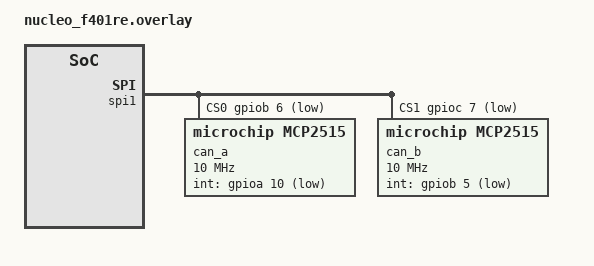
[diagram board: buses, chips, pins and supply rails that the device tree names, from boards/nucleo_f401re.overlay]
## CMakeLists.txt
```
cmake_minimum_required(VERSION 3.20.0)

find_package(Zephyr REQUIRED HINTS $ENV{ZEPHYR_BASE})
project(can_bringup)

target_sources(app PRIVATE src/main.c)
```

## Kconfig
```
mainmenu "Lab 3 CAN bring-up"

config BRINGUP_NODE_ID
	int "Node number of this Nucleo (2 = steering, 3 = drivetrain)"
	range 2 3
	default 2
	help
	  Test frames are sent with ID 0x700 | (node << 4), so N2 sends 0x720
	  and N3 sends 0x730. Set per board at build time with
	  -DCONFIG_BRINGUP_NODE_ID=3.

config BRINGUP_TX_PERIOD_MS
	int "Test frame period in ms (0 = don't transmit)"
	default 100
	help
	  Period of the Part 1 test frame sent on both buses. A node that
	  transmits with nobody else on the bus gets no ACK and goes
	  error-passive; set 0 to reproduce the Part 0 single-node check.

source "Kconfig.zephyr"
```

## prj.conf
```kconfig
CONFIG_GPIO=y
CONFIG_SPI=y
CONFIG_CAN=y

CONFIG_PRINTK=y
CONFIG_LOG=y
# Prints the MCP2515 bit-timing (prescaler/BS1/BS2) chosen at init
CONFIG_CAN_LOG_LEVEL_DBG=y

# Shell gives `can send/start/stop/mode/show` for poking the controllers by hand
CONFIG_SHELL=y
CONFIG_CAN_SHELL=y
CONFIG_DEVICE_SHELL=y
```

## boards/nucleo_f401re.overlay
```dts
/*
 * Dual MCP2515 (XIAO CAN Bus Expansion) on SPI1, handout wiring.
 * Same overlay for N2 and N3.
 *
 *   SCK  PA5 (D13)   MISO PA6 (D12)   MOSI PA7 (D11)
 *   CAN A: CS PB6 (D10), INT PA10 (D2)  -> EXTI10
 *   CAN B: CS PC7 (D9),  INT PB5  (D4)  -> EXTI5
 *
 * XIAO module crystal is 16 MHz. SPI1 is clocked from 84 MHz APB2 with
 * power-of-two dividers, so a 10 MHz request (MCP2515 max) yields 5.25 MHz.
 */

/ {
	aliases {
		can-a = &can_a;
		can-b = &can_b;
	};
};

&spi1 {
	status = "okay";
	cs-gpios = <&gpiob 6 (GPIO_ACTIVE_LOW | GPIO_PULL_UP)>,
		   <&gpioc 7 (GPIO_ACTIVE_LOW | GPIO_PULL_UP)>;

	can_a: can@0 {
		compatible = "microchip,mcp2515";
		reg = <0>;
		spi-max-frequency = <10000000>;
		int-gpios = <&gpioa 10 (GPIO_ACTIVE_LOW | GPIO_PULL_UP)>;
		osc-freq = <16000000>;
		/* Without this the driver falls back to CONFIG_CAN_DEFAULT_BITRATE (125k) */
		bitrate = <500000>;
		sample-point = <875>;
		status = "okay";
	};

	can_b: can@1 {
		compatible = "microchip,mcp2515";
		reg = <1>;
		spi-max-frequency = <10000000>;
		int-gpios = <&gpiob 5 (GPIO_ACTIVE_LOW | GPIO_PULL_UP)>;
		osc-freq = <16000000>;
		bitrate = <500000>;
		sample-point = <875>;
		status = "okay";
	};
};
```

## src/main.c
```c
/*
 * Lab 3 Part 0 bring-up: proves each MCP2515 on this Nucleo works on its own,
 * before any bus wire is connected.
 *
 *  1. SPI probe        -> raw register read proves the chip answers on MISO.
 *                         (The driver's init only writes, so "device ready"
 *                         alone does NOT prove the module is there.)
 *  2. loopback TX->RX  -> SPI read/write AND the INT pin -> driver thread path
 *  3. normal mode      -> can_get_state reports ERROR-ACTIVE (handout checkpoint)
 *
 * Part 1: then sends test frame 0x700 | (node << 4) every
 * CONFIG_BRINGUP_TX_PERIOD_MS on both buses, and once a second prints, per
 * bus, TX results and how many frames it heard from each node (N1 = Pi
 * sending 0x710, N2 = 0x720, N3 = 0x730).
 */

#include <string.h>
#include <zephyr/kernel.h>
#include <zephyr/device.h>
#include <zephyr/drivers/can.h>
#include <zephyr/drivers/spi.h>
#include <zephyr/sys/printk.h>

#define LOOPBACK_TEST_ID 0x7AB
#define STATUS_PERIOD_MS 1000

#define NODE_ID          CONFIG_BRINGUP_NODE_ID
#define TX_PERIOD_MS     CONFIG_BRINGUP_TX_PERIOD_MS
#define TEST_ID_BASE     0x700
#define TEST_ID(node)    (TEST_ID_BASE | ((node) << 4))
#define MAX_NODE         3

#define MCP2515_OP_READ      0x03
#define MCP2515_REG_CANSTAT  0x0E   /* CANCTRL (0x0F) follows via auto-increment */
#define MCP2515_OPMOD_CONFIG 0x4    /* CANSTAT[7:5] after reset */

#define PROBE_SPI_OP (SPI_WORD_SET(8) | SPI_TRANSFER_MSB | SPI_OP_MODE_CONTROLLER)

/* Counters touched from the MCP2515 driver thread, read and cleared by main */
struct port_stats {
	atomic_t tx_ok;
	atomic_t tx_err;      /* completed with error (e.g. no ACK) */
	atomic_t tx_full;     /* all 3 TX buffers busy, frame not queued */
	atomic_t rx_from[MAX_NODE + 1];   /* index = sender node number */
	atomic_t rx_other;
};

struct can_port {
	const char *name;
	char bus;             /* 'A' or 'B', also sent in the payload */
	const struct device *dev;
	struct spi_dt_spec spi;
	struct k_msgq *rx_q;
	bool ok;
	struct port_stats stats;
};

CAN_MSGQ_DEFINE(rx_q_a, 2);
CAN_MSGQ_DEFINE(rx_q_b, 2);

static struct can_port ports[] = {
	{ .name = "CAN A", .bus = 'A', .dev = DEVICE_DT_GET(DT_ALIAS(can_a)),
	  .spi = SPI_DT_SPEC_GET(DT_ALIAS(can_a), PROBE_SPI_OP), .rx_q = &rx_q_a },
	{ .name = "CAN B", .bus = 'B', .dev = DEVICE_DT_GET(DT_ALIAS(can_b)),
	  .spi = SPI_DT_SPEC_GET(DT_ALIAS(can_b), PROBE_SPI_OP), .rx_q = &rx_q_b },
};

/* Runs in the MCP2515 driver's cooperative thread: count only, never print */
static void rx_count_cb(const struct device *dev, struct can_frame *frame, void *user_data)
{
	struct port_stats *s = user_data;
	uint32_t node = (frame->id >> 4) & 0xF;

	ARG_UNUSED(dev);
	if ((frame->id & ~0x0F0U) == TEST_ID_BASE && node >= 1 && node <= MAX_NODE) {
		atomic_inc(&s->rx_from[node]);
	} else {
		atomic_inc(&s->rx_other);
	}
}

static void tx_done_cb(const struct device *dev, int error, void *user_data)
{
	struct port_stats *s = user_data;

	ARG_UNUSED(dev);
	atomic_inc(error ? &s->tx_err : &s->tx_ok);
}

/* Payload: [0] node, [1] bus letter, [2..5] counter LE. Same counter on both
 * buses so candump shows the A and B copies side by side. */
static void send_test_frame(struct can_port *p, uint32_t counter)
{
	struct can_frame f = {
		.id = TEST_ID(NODE_ID),
		.dlc = 8,
		.data = { NODE_ID, (uint8_t)p->bus,
			  counter & 0xFF, (counter >> 8) & 0xFF,
			  (counter >> 16) & 0xFF, (counter >> 24) & 0xFF, 0, 0 },
	};
	int ret = can_send(p->dev, &f, K_NO_WAIT, tx_done_cb, &p->stats);

	if (ret) {
		atomic_inc(&p->stats.tx_full);
	}
}

/* Read CANSTAT and CANCTRL directly. The driver leaves the chip in
 * configuration mode after reset, so a live MCP2515 reads CANSTAT = 0x80
 * (reset value of CANCTRL is 0x87). */
static bool spi_probe(const struct can_port *p)
{
	uint8_t tx[4] = { MCP2515_OP_READ, MCP2515_REG_CANSTAT, 0x00, 0x00 };
	uint8_t rx[4] = { 0 };
	const struct spi_buf tx_buf = { .buf = tx, .len = sizeof(tx) };
	const struct spi_buf rx_buf = { .buf = rx, .len = sizeof(rx) };
	const struct spi_buf_set tx_set = { .buffers = &tx_buf, .count = 1 };
	const struct spi_buf_set rx_set = { .buffers = &rx_buf, .count = 1 };
	int ret = spi_transceive_dt(&p->spi, &tx_set, &rx_set);

	if (ret) {
		printk("%s: SPI transfer error (%d)\n", p->name, ret);
		return false;
	}

	uint8_t canstat = rx[2];
	uint8_t canctrl = rx[3];

	printk("%s: SPI probe CANSTAT=0x%02x CANCTRL=0x%02x -> ", p->name, canstat, canctrl);

	if (canstat == 0x00 && canctrl == 0x00) {
		printk("chip NOT answering (all zeros). Check 3V3/GND, SCK (D8->D13), "
		       "MISO (module D9 -> Nucleo D12), MOSI (module D10 -> Nucleo D11; "
		       "handout figure has D9/D10 backwards), CS\n");
		return false;
	}
	if (canstat == 0xFF && canctrl == 0xFF) {
		printk("MISO floating high (all ones). Check MISO and CS wiring\n");
		return false;
	}
	if ((canstat >> 5) != MCP2515_OPMOD_CONFIG) {
		printk("unexpected value (expect 0x80): loose wire or noise on SPI\n");
		return false;
	}
	printk("OK (configuration mode)\n");
	return true;
}

static const char *state_name(enum can_state s)
{
	switch (s) {
	case CAN_STATE_ERROR_ACTIVE:  return "ERROR-ACTIVE";
	case CAN_STATE_ERROR_WARNING: return "ERROR-WARNING";
	case CAN_STATE_ERROR_PASSIVE: return "ERROR-PASSIVE";
	case CAN_STATE_BUS_OFF:       return "BUS-OFF";
	case CAN_STATE_STOPPED:       return "STOPPED";
	default:                      return "UNKNOWN";
	}
}

static void print_state(const struct can_port *p)
{
	enum can_state state;
	struct can_bus_err_cnt cnt;
	int ret = can_get_state(p->dev, &state, &cnt);

	if (ret) {
		printk("%s: can_get_state failed (%d)\n", p->name, ret);
		return;
	}
	printk("%s: %s  TEC=%u REC=%u\n", p->name, state_name(state),
	       cnt.tx_err_cnt, cnt.rx_err_cnt);
}

/* One line per bus per second; counters are per-second because they are cleared */
static void print_stats(struct can_port *p)
{
	enum can_state state;
	struct can_bus_err_cnt cnt = { 0 };
	struct port_stats *s = &p->stats;

	(void)can_get_state(p->dev, &state, &cnt);
	printk("%s: %-13s TEC=%3u REC=%3u | tx ok %2ld err %2ld full %2ld | rx/s N1 %2ld N2 %2ld N3 %2ld other %ld\n",
	       p->name, state_name(state), cnt.tx_err_cnt, cnt.rx_err_cnt,
	       atomic_clear(&s->tx_ok), atomic_clear(&s->tx_err), atomic_clear(&s->tx_full),
	       atomic_clear(&s->rx_from[1]), atomic_clear(&s->rx_from[2]),
	       atomic_clear(&s->rx_from[3]), atomic_clear(&s->rx_other));
}

static bool loopback_test(const struct can_port *p)
{
	const struct can_filter filter = {
		.id = LOOPBACK_TEST_ID,
		.mask = CAN_STD_ID_MASK,
		.flags = 0,
	};
	struct can_frame tx = {
		.id = LOOPBACK_TEST_ID,
		.dlc = 8,
		.data = { 0xDE, 0xAD, 0xBE, 0xEF, 0x01, 0x02, 0x03, 0x04 },
	};
	struct can_frame rx;
	bool ok = false;
	int ret;

	ret = can_set_mode(p->dev, CAN_MODE_LOOPBACK);
	if (ret) {
		printk("%s: set loopback mode failed (%d)\n", p->name, ret);
		return false;
	}

	int filter_id = can_add_rx_filter_msgq(p->dev, p->rx_q, &filter);

	if (filter_id < 0) {
		printk("%s: add rx filter failed (%d)\n", p->name, filter_id);
		return false;
	}

	ret = can_start(p->dev);
	if (ret) {
		printk("%s: can_start (loopback) failed (%d)\n", p->name, ret);
		goto out;
	}

	ret = can_send(p->dev, &tx, K_MSEC(100), NULL, NULL);
	if (ret) {
		printk("%s: loopback send failed (%d)\n", p->name, ret);
		goto stop;
	}

	/* RX only completes if the MCP2515 INT line reaches the STM32 EXTI */
	ret = k_msgq_get(p->rx_q, &rx, K_MSEC(100));
	if (ret) {
		printk("%s: loopback frame NOT received -> check INT wiring/pin\n", p->name);
		goto stop;
	}

	ok = (rx.id == tx.id) && (rx.dlc == tx.dlc) &&
	     (memcmp(rx.data, tx.data, tx.dlc) == 0);
	printk("%s: loopback %s (id=0x%03x dlc=%u)\n", p->name,
	       ok ? "OK" : "MISMATCH", rx.id, rx.dlc);

stop:
	can_stop(p->dev);
out:
	can_remove_rx_filter(p->dev, filter_id);
	return ok;
}

static void bring_up(struct can_port *p)
{
	uint32_t core_clock = 0;
	int ret;

	if (!device_is_ready(p->dev)) {
		printk("%s: driver init failed (see log above)\n", p->name);
		return;
	}

	if (!spi_probe(p)) {
		printk("%s: skipping CAN tests until the SPI probe passes\n", p->name);
		return;
	}

	/* Computed from osc-freq in devicetree, not read from the chip */
	(void)can_get_core_clock(p->dev, &core_clock);
	printk("%s: core clock %u Hz (expect 8000000 = 16 MHz osc / 2)\n",
	       p->name, core_clock);

	if (!loopback_test(p)) {
		printk("%s: loopback failed; skipping normal mode\n", p->name);
		return;
	}

	ret = can_set_mode(p->dev, CAN_MODE_NORMAL);
	if (ret) {
		printk("%s: set normal mode failed (%d)\n", p->name, ret);
		return;
	}

	/* Accept every standard ID; the callback sorts test frames by sender */
	const struct can_filter all = { .id = 0, .mask = 0, .flags = 0 };

	ret = can_add_rx_filter(p->dev, rx_count_cb, &p->stats, &all);
	if (ret < 0) {
		printk("%s: add rx filter failed (%d)\n", p->name, ret);
		return;
	}

	ret = can_start(p->dev);
	if (ret) {
		printk("%s: can_start (normal) failed (%d)\n", p->name, ret);
		return;
	}
	p->ok = true;
	print_state(p);
}

int main(void)
{
	printk("\n=== Lab 3 CAN bring-up: node N%d, test ID 0x%03x, ", NODE_ID, TEST_ID(NODE_ID));
	if (TX_PERIOD_MS > 0) {
		printk("TX every %d ms on both buses ===\n", TX_PERIOD_MS);
	} else {
		printk("TX disabled ===\n");
	}

	for (size_t i = 0; i < ARRAY_SIZE(ports); i++) {
		bring_up(&ports[i]);
	}

	/* With TX enabled, a node alone on a bus gets no ACK: tx err climbs and
	 * it goes ERROR-PASSIVE. That's expected until another node is wired. */
	uint32_t counter = 0;
	int64_t next_print = k_uptime_get() + STATUS_PERIOD_MS;
	const int32_t tick_ms = (TX_PERIOD_MS > 0) ? TX_PERIOD_MS : STATUS_PERIOD_MS;

	while (1) {
		k_msleep(tick_ms);

		if (TX_PERIOD_MS > 0) {
			/* Back to back on both buses with one counter value */
			for (size_t i = 0; i < ARRAY_SIZE(ports); i++) {
				if (ports[i].ok) {
					send_test_frame(&ports[i], counter);
				}
			}
			counter++;
		}

		if (k_uptime_get() >= next_print) {
			next_print += STATUS_PERIOD_MS;
			for (size_t i = 0; i < ARRAY_SIZE(ports); i++) {
				if (ports[i].ok) {
					print_stats(&ports[i]);
				}
			}
		}
	}
	return 0;
}
```
